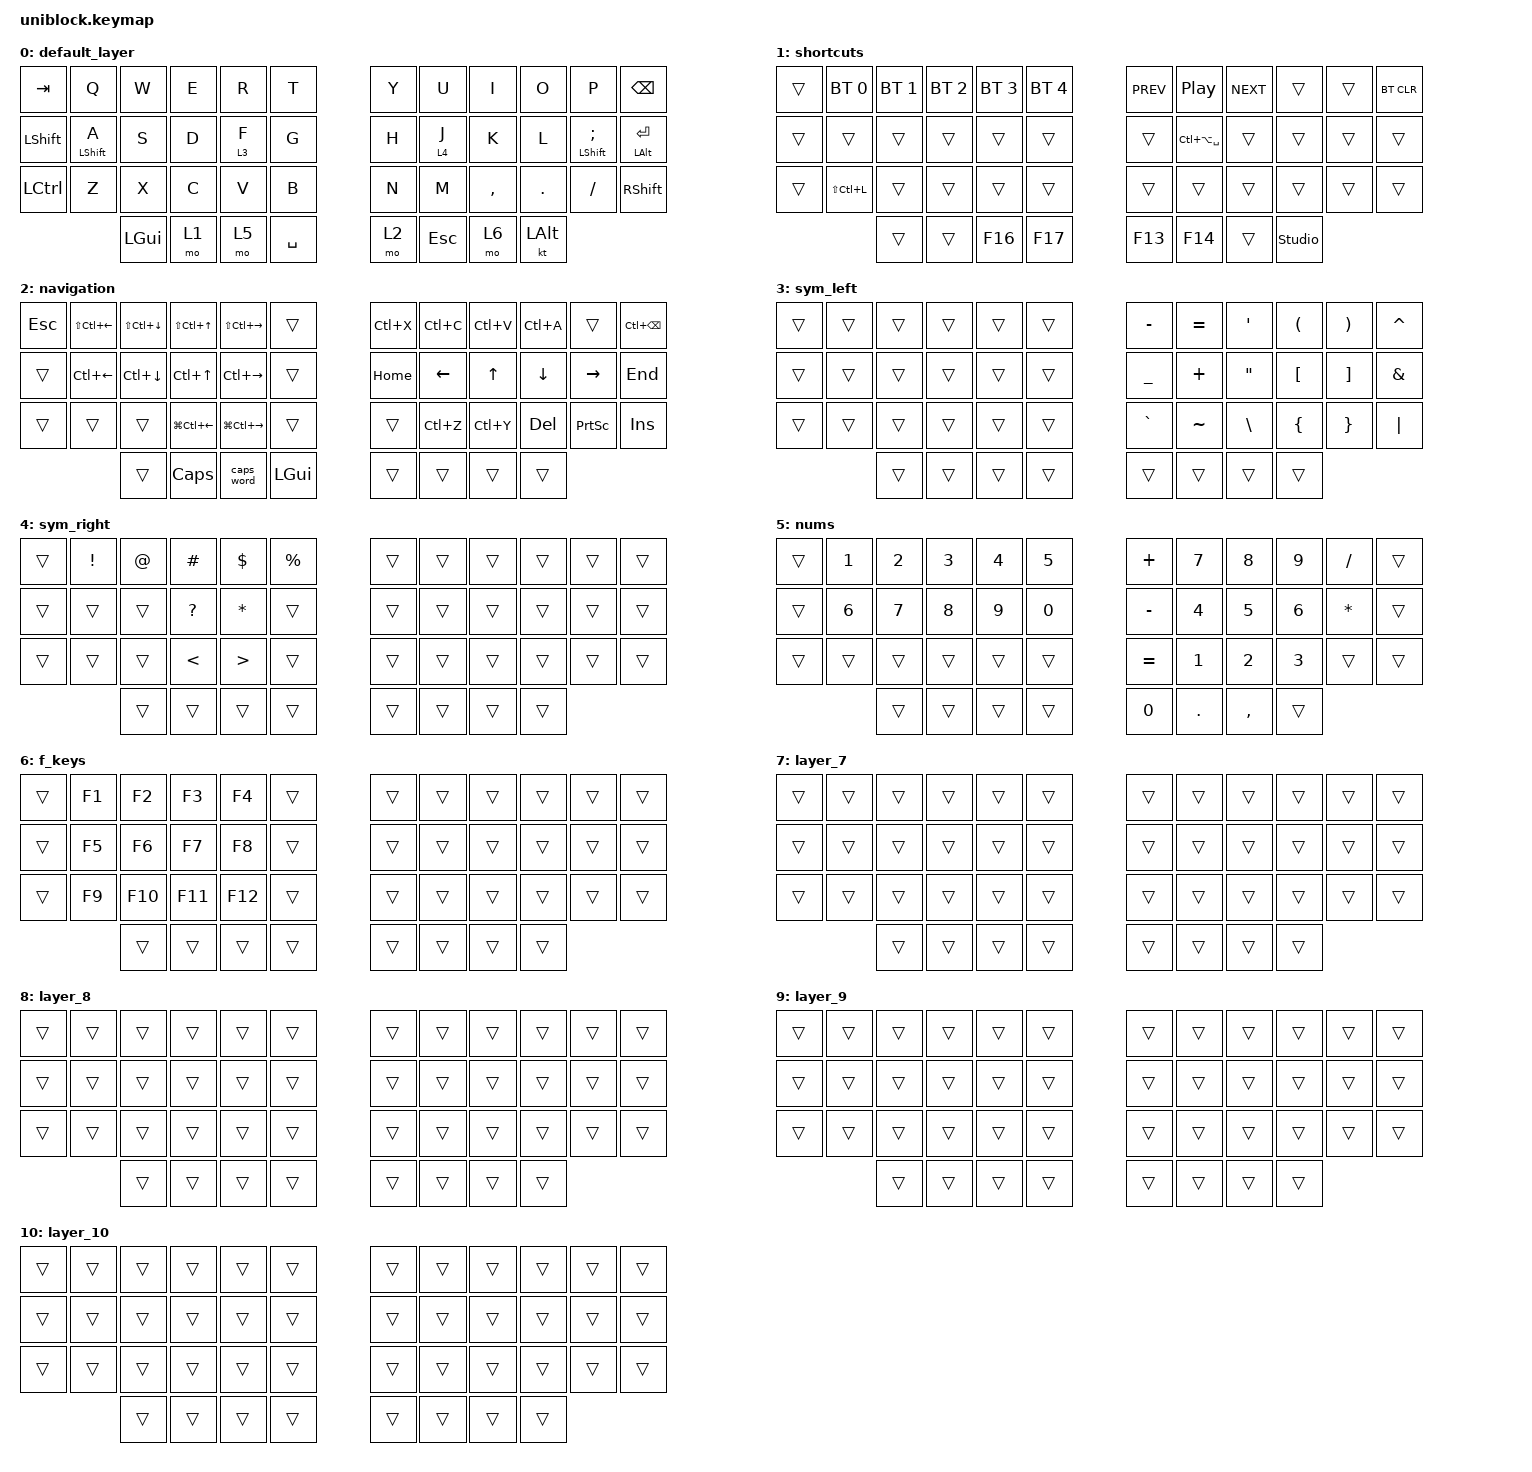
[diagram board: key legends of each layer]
#include <behaviors.dtsi>
#include <dt-bindings/zmk/keys.h>
#include <dt-bindings/zmk/bt.h>

&mt{
    flavor = "tap-preferred";
    tapping-term-ms = <260>;
};

#define MO_TOG(layer) &mo_tog layer layer
#define MO_SL(layer) &mo_sl layer layer

/ {
    behaviors {
        bhml: balanced_homerow_mods_left {
            compatible = "zmk,behavior-hold-tap";
            #binding-cells = <2>;
            flavor = "balanced";
            tapping-term-ms = <200>;
            quick-tap-ms = <150>;
            require-prior-idle-ms = <125>;
            bindings = <&kp>, <&kp>;
            hold-trigger-key-positions = <6 7 8 9 10 11 18 19 20 21 22 23 30 31 32 33 34 35>;
        };

        bhmr: balanced_homerow_mods_right {
            compatible = "zmk,behavior-hold-tap";
            #binding-cells = <2>;
            flavor = "balanced";
            tapping-term-ms = <200>;
            quick-tap-ms = <150>;
            require-prior-idle-ms = <125>;
            bindings = <&kp>, <&kp>;
            hold-trigger-key-positions = <0 1 2 3 4 5 12 13 14 15 16 17 24 25 26 27 28 29>;
        };

        buhml: balanced_undecided_homerow_mods_left {
            compatible = "zmk,behavior-hold-tap";
            #binding-cells = <2>;
            flavor = "balanced";
            tapping-term-ms = <200>;
            quick-tap-ms = <150>;
            require-prior-idle-ms = <125>;
            bindings = <&kp>, <&kp>;
            hold-while-undecided;
            hold-trigger-key-positions = <6 7 8 9 10 11 18 19 20 21 22 23 30 31 32 33 34 35>;
        };

        buhmr: balanced_undecided_homerow_mods_right {
            compatible = "zmk,behavior-hold-tap";
            #binding-cells = <2>;
            flavor = "balanced";
            tapping-term-ms = <200>;
            quick-tap-ms = <150>;
            require-prior-idle-ms = <125>;
            bindings = <&kp>, <&kp>;
            hold-while-undecided;
            hold-trigger-key-positions = <0 1 2 3 4 5 12 13 14 15 16 17 24 25 26 27 28 29>;
        };

        ltl: layer_tap_left {
            compatible = "zmk,behavior-hold-tap";
            #binding-cells = <2>;
            flavor = "balanced";
            tapping-term-ms = <200>;
            quick-tap-ms = <150>;
            require-prior-idle-ms = <125>;
            bindings = <&mo>, <&kp>;
            hold-trigger-key-positions = <6 7 8 9 10 11 18 19 20 21 22 23 30 31 32 33 34 35>;
        };

        ltr: layer_tap_right {
            compatible = "zmk,behavior-hold-tap";
            #binding-cells = <2>;
            flavor = "balanced";
            tapping-term-ms = <200>;
            quick-tap-ms = <150>;
            require-prior-idle-ms = <125>;
            bindings = <&mo>, <&kp>;
            hold-trigger-key-positions = <0 1 2 3 4 5 12 13 14 15 16 17 24 25 26 27 28 29>;
        };

        lth: layer_tap_hold_preferred {
            compatible = "zmk,behavior-hold-tap";
            #binding-cells = <2>;
            flavor = "hold-preferred";
            tapping-term-ms = <200>;
            quick-tap-ms = <175>;
            hold-while-undecided;
            bindings = <&mo>, <&kp>;
        };

        caps: caps_on_hold{
            compatible = "zmk,behavior-hold-tap";
            #binding-cells = <2>;
            tapping-term-ms = <200>;    // <---[[moderate duration]]
            quick-tap-ms = <150>;   
            flavor = "balanced";
            bindings = <&kp>, <&caps_word>;
        };

        mo_tog: behavior_mo_tog {
            compatible = "zmk,behavior-hold-tap";
            #binding-cells = <2>;
            flavor = "hold-preferred";
            tapping-term-ms = <200>;
            bindings = <&mo>, <&tog>;
        };

        mo_sl: behavior_mo_sl {
            compatible = "zmk,behavior-hold-tap";
            #binding-cells = <2>;
            flavor = "hold-preferred";
            tapping-term-ms = <200>;
            bindings = <&mo>, <&sl>;
        };
       
    };

    // ------------------------------------------------------------------------------------------------------------
            // |  TAB  |  Q  |  W  |  E   |  R   |  T   |                   |  Y   |  U    |  I    |  O   |   P   |   -   |
            // |  CTRL |  A  |  S  |  D   |  F   |  G   |                   |  H   |  J    |  K    |  L   |   ;   |   '   |
            // | SHIFT |  Z  |  X  |  C   |  V   |  B   |                   |  N   |  M    |  ,    |  .   |   /   | SHIFT |
            //                     | ALT  | GUI  | LOWER|  SPACE |  | ENTER | RAISE| BSPC  | GUI   |

    keymap {
        compatible = "zmk,keymap";

        default_layer {
            bindings = <
&kp TAB    &kp Q  &kp W    &kp E  &kp R  &kp T                          &kp Y  &kp U  &kp I  &kp O  &kp P  &kp BACKSPACE
&kp LSHFT  &bhml LSHFT A  &kp S  &kp D  &ltl 3  F  &kp G                  &kp H  &ltr 4 J  &kp K  &kp L   &bhmr LSHFT SEMI  &mt LEFT_ALT RETURN
&kp LCTRL  &kp Z  &kp X    &kp C  &kp V  &kp B                          &kp N  &kp M  &kp COMMA  &kp DOT  &kp FSLH  &kp RSHFT
                    &kp LEFT_GUI &mo 1 &mo 5  &kp SPACE                &mo 2  &kp ESC  &mo 6  &kt LALT
            >;
        };

        shortcuts {
            bindings = <
&trans  &bt BT_SEL 0  &bt BT_SEL 1  &bt BT_SEL 2  &bt BT_SEL 3  &bt BT_SEL 4            &kp C_PREV  &kp C_PLAY_PAUSE  &kp C_NEXT  &trans  &trans  &bt BT_CLR  
&trans  &trans  &trans  &trans  &trans  &trans                                          &trans  &kp LC(LA(SPACE))  &trans  &trans  &trans  &trans  
&trans  &kp LS(LC(L))  &trans  &trans  &trans  &trans                                   &trans  &trans  &trans  &trans  &trans  &trans  
                       &trans  &trans  &kp F16  &kp F17                                   &kp F13  &kp F14  &trans  &studio_unlock
            >;
        };  

        navigation {
            bindings = <
&kp ESC  &kp LS(LC(LEFT))  &kp LS(LC(DOWN))  &kp LS(LC(UP))  &kp LS(LC(RIGHT))  &trans          &kp LC(X)  &kp LC(C)  &kp LC(V)  &kp LC(A)  &trans &kp LC(BACKSPACE)
&trans  &kp LC(LEFT)  &kp LC(DOWN)  &kp LC(UP)  &kp LC(RIGHT)  &trans                           &kp HOME  &kp LEFT  &kp UP  &kp DOWN  &kp RIGHT  &kp END  
&trans  &trans  &trans  &kp LG(LC(LEFT))  &kp LG(LC(RIGHT))  &trans                             &trans  &kp LC(Z)  &kp LC(Y)  &kp DEL  &kp PRINTSCREEN  &kp INSERT  
                &trans  &kp CAPS  &caps_word  &kp LEFT_GUI                                                  &trans  &trans  &trans  &trans
            >;
        };

        sym_left {
            bindings = <
&trans  &trans  &trans  &trans  &trans  &trans              &kp MINUS  &kp EQUAL  &kp SQT  &kp LEFT_PARENTHESIS  &kp RIGHT_PARENTHESIS  &kp CARET  
&trans  &trans  &trans  &trans  &trans  &trans              &kp UNDER  &kp PLUS  &kp DOUBLE_QUOTES  &kp LEFT_BRACKET  &kp RIGHT_BRACKET  &kp AMPERSAND  
&trans  &trans  &trans  &trans  &trans  &trans              &kp GRAVE  &kp TILDE  &kp BACKSLASH  &kp LEFT_BRACE  &kp RIGHT_BRACE  &kp PIPE  
                &trans  &trans  &trans  &trans              &trans  &trans  &trans  &trans
            >;
        };

        sym_right {
            bindings = <
&trans  &kp EXCLAMATION  &kp AT  &kp HASH  &kp DOLLAR  &kp PERCENT          &trans  &trans  &trans  &trans  &trans  &trans  
&trans  &trans  &trans  &kp QUESTION  &kp ASTERISK  &trans                  &trans  &trans  &trans  &trans  &trans  &trans  
&trans  &trans  &trans  &kp LESS_THAN  &kp GREATER_THAN  &trans             &trans  &trans  &trans  &trans  &trans  &trans  
                &trans  &trans  &trans  &trans                              &trans  &trans  &trans  &trans
            >;
        };

        nums {
            bindings = <
&trans  &kp N1  &kp N2  &kp N3  &kp N4  &kp N5          &kp PLUS  &kp N7  &kp N8  &kp N9  &kp SLASH  &trans  
&trans  &kp N6  &kp N7  &kp N8  &kp N9  &kp N0          &kp MINUS  &kp N4  &kp N5  &kp N6  &kp ASTRK  &trans  
&trans  &trans  &trans  &trans  &trans  &trans          &kp EQUAL  &kp N1  &kp N2  &kp N3  &trans  &trans  
                &trans  &trans  &trans  &trans          &kp N0  &kp DOT  &kp COMMA  &trans
            >;
        };

        f_keys {
            bindings = <
&trans  &kp F1  &kp F2  &kp F3  &kp F4  &trans          &trans  &trans  &trans  &trans  &trans  &trans  
&trans  &kp F5  &kp F6  &kp F7  &kp F8  &trans          &trans  &trans  &trans  &trans  &trans  &trans  
&trans  &kp F9  &kp F10  &kp F11  &kp F12  &trans       &trans  &trans  &trans  &trans  &trans  &trans  
                &trans  &trans  &trans  &trans          &trans  &trans  &trans  &trans
            >;
        };

        layer_7 {
            bindings = <
&trans  &trans  &trans  &trans  &trans  &trans          &trans  &trans  &trans  &trans  &trans  &trans  
&trans  &trans  &trans  &trans  &trans  &trans          &trans  &trans  &trans  &trans  &trans  &trans  
&trans  &trans  &trans  &trans  &trans  &trans          &trans  &trans  &trans  &trans  &trans  &trans  
                &trans  &trans  &trans  &trans          &trans  &trans  &trans  &trans
            >;
        };

        layer_8 {
            bindings = <
&trans  &trans  &trans  &trans  &trans  &trans          &trans  &trans  &trans  &trans  &trans  &trans  
&trans  &trans  &trans  &trans  &trans  &trans          &trans  &trans  &trans  &trans  &trans  &trans  
&trans  &trans  &trans  &trans  &trans  &trans          &trans  &trans  &trans  &trans  &trans  &trans  
                &trans  &trans  &trans  &trans          &trans  &trans  &trans  &trans
            >;
        };

        layer_9 {
            bindings = <
&trans  &trans  &trans  &trans  &trans  &trans          &trans  &trans  &trans  &trans  &trans  &trans  
&trans  &trans  &trans  &trans  &trans  &trans          &trans  &trans  &trans  &trans  &trans  &trans  
&trans  &trans  &trans  &trans  &trans  &trans          &trans  &trans  &trans  &trans  &trans  &trans  
                &trans  &trans  &trans  &trans          &trans  &trans  &trans  &trans
            >;
        };

        layer_10 {
            bindings = <
&trans  &trans  &trans  &trans  &trans  &trans          &trans  &trans  &trans  &trans  &trans  &trans  
&trans  &trans  &trans  &trans  &trans  &trans          &trans  &trans  &trans  &trans  &trans  &trans  
&trans  &trans  &trans  &trans  &trans  &trans          &trans  &trans  &trans  &trans  &trans  &trans  
                &trans  &trans  &trans  &trans          &trans  &trans  &trans  &trans
            >;
        };
    };
};
